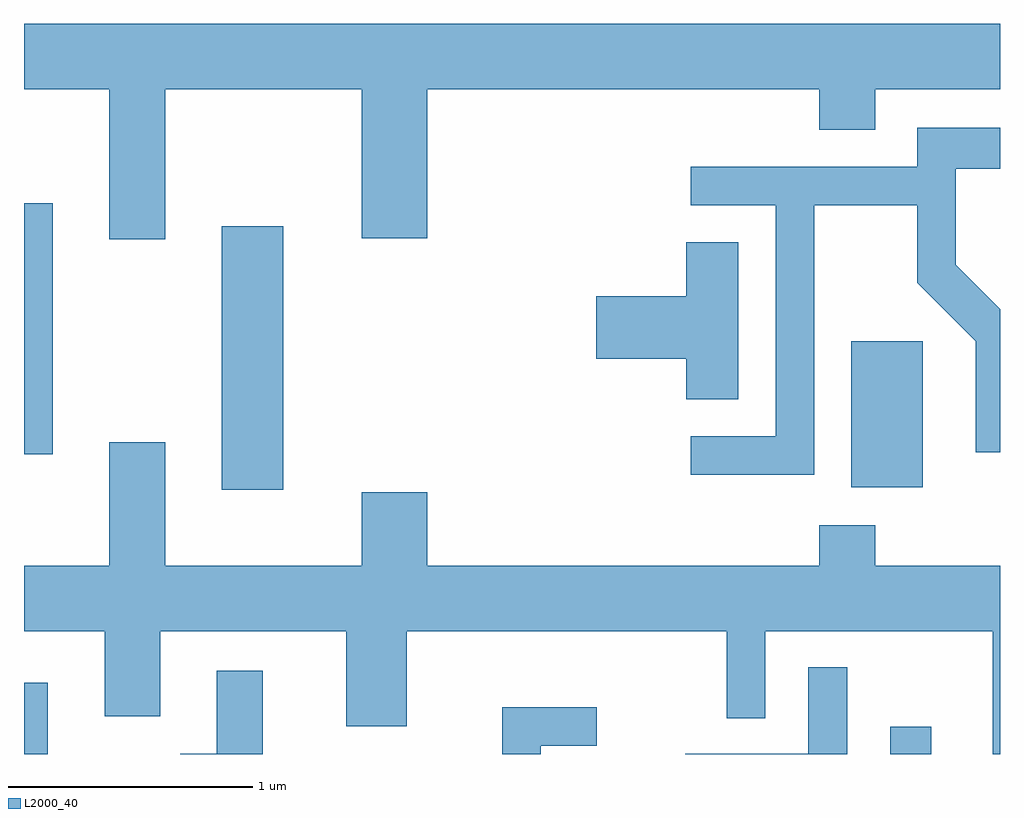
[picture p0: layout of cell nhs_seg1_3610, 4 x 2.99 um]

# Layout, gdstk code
import gdstk
lib = gdstk.Library(unit=1e-6, precision=1e-09)
def R(c, l, rs):  # rectangles x0, y0, x1, y1
    for r in rs: c.add(gdstk.rectangle(r[:2], r[2:], *l))
def P(c, l, *ps):  # polygons
    for p in ps: c.add(gdstk.Polygon(p, *l))
L2000_40 = (2000, 40)

nhs_seg1_3610 = lib.new_cell('nhs_seg1_3610')
R(nhs_seg1_3610, L2000_40, [(293.611,925.712,293.709,926.004), (297.161,925.712,297.329,925.823), (294.421,926.796,294.674,927.874), (297.001,926.806,297.294,927.404), (293.611,926.941,293.729,927.969)])
P(nhs_seg1_3610, L2000_40, [(294.189,928.436),(294.996,928.436),(294.996,927.826),(295.264,927.826),(295.264,928.436),(296.871,928.436),(296.871,928.271),(297.099,928.271),(297.099,928.436),(297.611,928.436),(297.611,928.704),(293.611,928.704),(293.611,928.436),(293.961,928.436),(293.961,927.821),(294.189,927.821)],
  [(296.849,927.961),(297.271,927.961),(297.271,927.644),(297.511,927.404),(297.511,926.948),(297.611,926.948),(297.611,927.535),(297.429,927.717),(297.429,928.111),(297.611,928.111),(297.611,928.279),(297.271,928.279),(297.271,928.119),(296.343,928.119),(296.343,927.961),(296.691,927.961),(296.691,927.014),(296.343,927.014),(296.343,926.856),(296.849,926.856)],
  [(296.539,927.809),(296.326,927.809),(296.326,927.589),(295.956,927.589),(295.956,927.331),(296.326,927.331),(296.326,927.166),(296.539,927.166)],
  [(297.611,926.484),(297.099,926.484),(297.099,926.649),(296.871,926.649),(296.871,926.484),(295.264,926.484),(295.264,926.784),(294.996,926.784),(294.996,926.484),(294.189,926.484),(294.189,926.989),(293.961,926.989),(293.961,926.484),(293.611,926.484),(293.611,926.216),(293.941,926.216),(293.941,925.866),(294.169,925.866),(294.169,926.216),(294.931,926.216),(294.931,925.826),(295.179,925.826),(295.179,926.216),(296.491,926.216),(296.491,925.858),(296.649,925.858),(296.649,926.216),(297.581,926.216),(297.581,925.712),(297.611,925.712)],
  [(296.984,926.068),(296.826,926.068),(296.826,925.714),(296.321,925.714),(296.321,925.712),(296.984,925.712)],
  [(294.589,926.054),(294.401,926.054),(294.401,925.714),(294.251,925.714),(294.251,925.712),(294.589,925.712)],
  [(295.729,925.746),(295.958,925.746),(295.958,925.904),(295.571,925.904),(295.571,925.712),(295.729,925.712)])

lib.write_gds('nhs_seg1_3610.gds')
